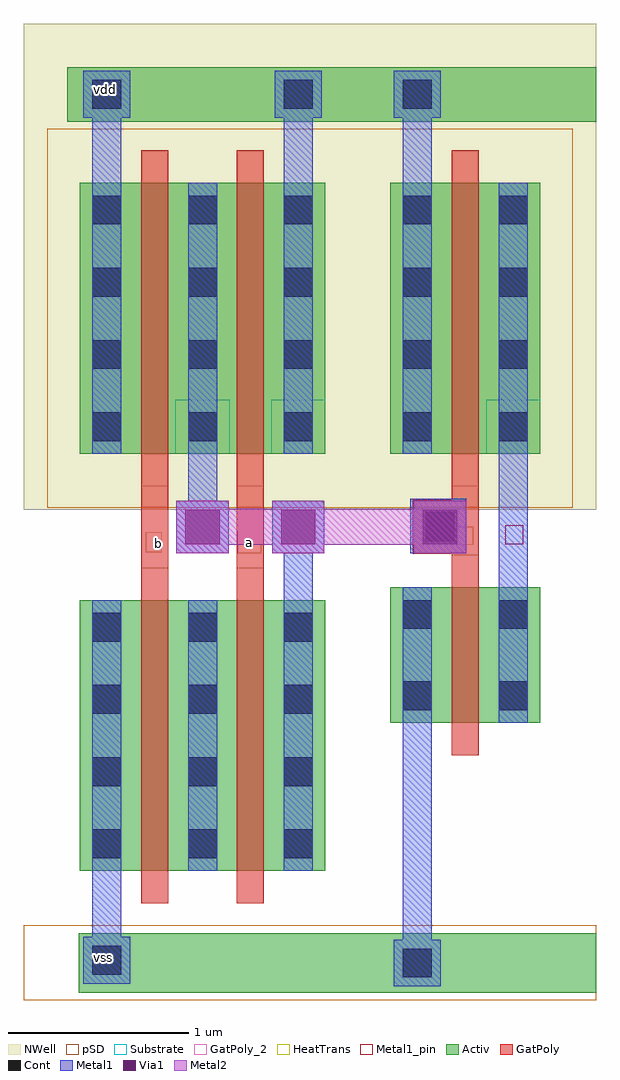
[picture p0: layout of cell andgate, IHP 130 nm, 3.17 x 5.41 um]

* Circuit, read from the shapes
.subckt andgate a b vdd vss
XM1 n1 b vss vss sg13_lv_nmos w=1.5u l=0.15u
XM2 inverter_4/in a n1 vss sg13_lv_nmos w=1.5u l=0.15u
XM3 inverter_4/out inverter_4/in vss vss sg13_lv_nmos w=0.75u l=0.15u
XM4 inverter_4/in b vdd vdd sg13_lv_pmos w=1.5u l=0.15u
XM5 vdd a inverter_4/in vdd sg13_lv_pmos w=1.5u l=0.15u
XM6 inverter_4/out inverter_4/in vdd vdd sg13_lv_pmos w=1.5u l=0.15u
.ends

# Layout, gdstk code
from math import pi, radians
import gdstk
lib = gdstk.Library(unit=1e-6, precision=5e-09)
def R(c, l, rs):  # rectangles x0, y0, x1, y1
    for r in rs: c.add(gdstk.rectangle(r[:2], r[2:], *l))
def A(c, l, x, y, w, h, nx, ny, dx, dy):  # array of equal rectangles
    R(c, l, [(x+i*dx, y+j*dy, x+i*dx+w, y+j*dy+h) for i in range(nx) for j in range(ny)])
def P(c, l, *ps):  # polygons
    for p in ps: c.add(gdstk.Polygon(p, *l))
Activ = (1, 0)
GatPoly = (5, 0)
GatPoly_2 = (5, 2)
Cont = (6, 0)
Metal1 = (8, 0)
Metal1_pin = (8, 2)
Metal2 = (10, 0)
pSD = (14, 0)
Via1 = (19, 0)
NWell = (31, 0)
Substrate = (40, 0)
HeatTrans = (51, 0)

nmos_1_1 = lib.new_cell('nmos$1$1')
R(nmos_1_1, Activ, [(0,0,0.3,0.3), (0,0,0.83,1.5), (0.53,0,0.83,0.3)])
R(nmos_1_1, GatPoly, [(0.34,-0.18,0.49,1.68)])
R(nmos_1_1, GatPoly_2, [(0.34,-0.18,0.49,1.68)])
A(nmos_1_1, Cont, 0.07, 0.07, 0.16, 0.16, 1, 4, 0, 0.4)
A(nmos_1_1, Cont, 0.6, 0.07, 0.16, 0.16, 1, 4, 0, 0.4)
R(nmos_1_1, Metal1, [(0.07,0,0.23,1.5), (0.6,0,0.76,1.5)])
R(nmos_1_1, Metal1_pin, [(0.07,0,0.23,1.5), (0.6,0,0.76,1.5)])
R(nmos_1_1, HeatTrans, [(0.34,-0.18,0.49,1.68)])
nmos_1_1.add(gdstk.Label('nmos', (0.415,0.75), layer=63, texttype=0))
nmos_1_1.add(gdstk.Label('nmos', (0.415,0.75), layer=51, texttype=0))

pmos_4 = lib.new_cell('pmos$4')
R(pmos_4, Activ, [(0,0,0.3,0.3), (0,0,0.83,1.5), (0.53,0,0.83,0.3)])
R(pmos_4, GatPoly, [(0.34,-0.18,0.49,1.68), (0.34,-0.18,0.49,1.68)])
A(pmos_4, Cont, 0.07, 0.07, 0.16, 0.16, 1, 4, 0, 0.4)
A(pmos_4, Cont, 0.6, 0.07, 0.16, 0.16, 1, 4, 0, 0.4)
R(pmos_4, Metal1, [(0.07,0,0.23,1.5), (0.07,0,0.23,1.5), (0.6,0,0.76,1.5), (0.6,0,0.76,1.5)])
R(pmos_4, pSD, [(-0.18,-0.3,1.01,1.8)])
R(pmos_4, NWell, [(-0.31,-0.31,1.14,1.81)])
R(pmos_4, Substrate, [(0.53,0,0.83,0.3)])
R(pmos_4, HeatTrans, [(0.34,-0.18,0.49,1.68)])
pmos_4.add(gdstk.Label('pmos', (0.415,0.75), layer=63, texttype=0))
pmos_4.add(gdstk.Label('pmos', (0.415,0.75), layer=51, texttype=0))

nmos = lib.new_cell('nmos')
R(nmos, Activ, [(0,0,0.3,0.3), (0,0,0.83,0.75), (0.53,0,0.83,0.3)])
R(nmos, GatPoly, [(0.34,-0.18,0.49,0.93)])
R(nmos, GatPoly_2, [(0.34,-0.18,0.49,0.93)])
R(nmos, Cont, [(0.07,0.07,0.23,0.23), (0.6,0.07,0.76,0.23), (0.07,0.52,0.23,0.68), (0.6,0.52,0.76,0.68)])
R(nmos, Metal1, [(0.07,0,0.23,0.75), (0.6,0,0.76,0.75)])
R(nmos, Metal1_pin, [(0.07,0,0.23,0.75), (0.6,0,0.76,0.75)])
R(nmos, HeatTrans, [(0.34,-0.18,0.49,0.93)])
nmos.add(gdstk.Label('nmos', (0.415,0.375), layer=63, texttype=0))
nmos.add(gdstk.Label('nmos', (0.415,0.375), layer=51, texttype=0))

pmos_1 = lib.new_cell('pmos$1')
R(pmos_1, Activ, [(0,0,0.3,0.3), (0,0,0.83,1.5), (0.53,0,0.83,0.3)])
R(pmos_1, GatPoly, [(0.34,-0.18,0.49,1.68), (0.34,-0.18,0.49,1.68)])
A(pmos_1, Cont, 0.07, 0.07, 0.16, 0.16, 1, 4, 0, 0.4)
A(pmos_1, Cont, 0.6, 0.07, 0.16, 0.16, 1, 4, 0, 0.4)
R(pmos_1, Metal1, [(0.07,0,0.23,1.5), (0.07,0,0.23,1.5), (0.6,0,0.76,1.5), (0.6,0,0.76,1.5)])
R(pmos_1, pSD, [(-0.18,-0.3,1.01,1.8)])
R(pmos_1, NWell, [(-0.31,-0.31,1.14,1.81)])
R(pmos_1, Substrate, [(0.53,0,0.83,0.3)])
R(pmos_1, HeatTrans, [(0.34,-0.18,0.49,1.68)])
pmos_1.add(gdstk.Label('pmos', (0.415,0.75), layer=63, texttype=0))
pmos_1.add(gdstk.Label('pmos', (0.415,0.75), layer=51, texttype=0))

inverter = lib.new_cell('inverter')
R(inverter, Activ, [(-0.925,-2.62,0.525,-2.29), (-0.925,2.205,0.525,2.505)])
R(inverter, GatPoly, [(-0.275,-0.195,-0.125,0.185)])
R(inverter, GatPoly_2, [(-0.25,-0.14,-0.155,-0.04)])
R(inverter, Cont, [(-0.545,-2.535,-0.385,-2.375), (-0.545,-2.535,-0.385,-2.375), (-0.545,2.275,-0.385,2.435)])
R(inverter, Metal1, [(-0.595,-2.585,-0.335,-2.325), (-0.545,-2.325,-0.385,-0.845), (-0.015,-0.375,0.145,0.365), (-0.545,1.865,-0.385,2.275), (-0.595,2.225,-0.335,2.485)])
R(inverter, Metal1_pin, [(0.02,-0.135,0.12,-0.03)])
R(inverter, pSD, [(-0.925,-2.66,0.525,-2.245)])
R(inverter, NWell, [(-0.925,2.175,0.525,2.745)])
inverter.add(gdstk.Reference(nmos, (-0.615,-1.125)))
inverter.add(gdstk.Reference(pmos_1, (-0.615,0.365)))
inverter.add(gdstk.Label('vss', (-0.475,-2.43), layer=8, texttype=2))
inverter.add(gdstk.Label('vdd', (-0.465,2.355), layer=8, texttype=2))
inverter.add(gdstk.Label('out', (0.06,-0.09), layer=8, texttype=2))
inverter.add(gdstk.Label('in', (-0.205,-0.09), layer=5, texttype=2))

andgate = lib.new_cell('andgate')
R(andgate, Activ, [(-0.62,-2.62,1.185,-2.29), (-0.685,2.205,1.235,2.505)])
R(andgate, GatPoly, [(-0.275,-0.265,-0.125,0.185), (0.255,-0.265,0.405,0.185), (1.23,-0.19,1.445,0.11)])
R(andgate, GatPoly_2, [(0.26,-0.185,0.39,-0.065), (-0.25,-0.18,-0.16,-0.07)])
R(andgate, Cont, [(-0.545,-2.52,-0.385,-2.36), (-0.545,-2.52,-0.385,-2.36), (1.3,-0.12,1.46,0.04), (-0.545,2.275,-0.385,2.435), (0.515,2.275,0.675,2.435)])
R(andgate, Metal1, [(-0.595,-2.57,-0.335,-2.31), (-0.545,-2.36,-0.385,-1.945), (0.515,-0.445,0.675,-0.185), (-0.08,-0.185,0.21,0.105), (0.45,-0.185,0.74,0.105), (1.215,-0.185,1.525,0.115), (-0.015,0.105,0.145,0.365), (-0.545,1.865,-0.385,2.275), (0.515,1.865,0.675,2.435), (-0.595,2.225,-0.335,2.485), (0.465,2.225,0.725,2.485)])
R(andgate, Metal1_pin, [(-0.545,2.275,-0.385,2.435)])
P(andgate, Metal1_pin, [(-0.545,-2.31),(-0.545,-2.31),(-0.385,-2.31),(-0.385,-2.31)])
R(andgate, Metal2, [(-0.08,-0.185,0.21,0.105), (0.45,-0.185,0.74,0.105), (1.235,-0.185,1.525,0.105), (0.21,-0.14,0.45,0.06), (0.74,-0.14,1.235,0.06)])
R(andgate, pSD, [(-0.925,-2.66,1.105,-2.245)])
R(andgate, Via1, [(-0.03,-0.135,0.16,0.055), (0.5,-0.135,0.69,0.055), (1.285,-0.135,1.475,0.055)])
R(andgate, NWell, [(-0.925,2.175,1.105,2.745)])
andgate.add(gdstk.Reference(nmos_1_1, (0.745,-0.445), rotation=pi))
andgate.add(gdstk.Reference(pmos_4, (-0.085,0.365)))
andgate.add(gdstk.Reference(pmos_4, (-0.615,0.365)))
andgate.add(gdstk.Reference(nmos_1_1, (-0.615,-1.945)))
andgate.add(gdstk.Reference(inverter, (1.72,0)))
andgate.add(gdstk.Label('vdd', (-0.475,2.38), layer=8, texttype=2))
andgate.add(gdstk.Label('vss', (-0.485,-2.425), layer=8, texttype=2))
andgate.add(gdstk.Label('b', (-0.18,-0.13), layer=5, texttype=2))
andgate.add(gdstk.Label('a', (0.325,-0.125), layer=5, texttype=2))

lib.write_gds('andgate.gds')
